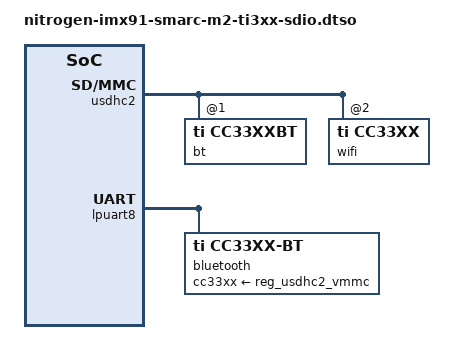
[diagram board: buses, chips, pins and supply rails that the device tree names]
// SPDX-License-Identifier: (GPL-2.0+ OR MIT)
/*
 * Copyright 2024 Ezurio
 */

/dts-v1/;
/plugin/;

#include <dt-bindings/gpio/gpio.h>

&reg_slow_clock {
	status = "okay";
};

&reg_usdhc2_vmmc {
	vin-supply = <&reg_slow_clock>;

	startup-delay-us = <10000>;
	off-on-delay-us = <100>;
};

&usdhc2 {
	cap-power-off-card;

	#address-cells = <1>;
	#size-cells = <0>;

	bt@1 {
		reg = <1>;
		compatible = "ti,cc33xxbt";
	};

	wifi@2 {
		reg = <2>;
		compatible = "ti,cc33xx";
	};
};

&lpuart8 {
 	status = "okay";

	bluetooth {
		compatible = "ti,cc33xx-bt";
		cc33xx-supply = <&reg_usdhc2_vmmc>;
		max-speed = <115200>;
	};
};
